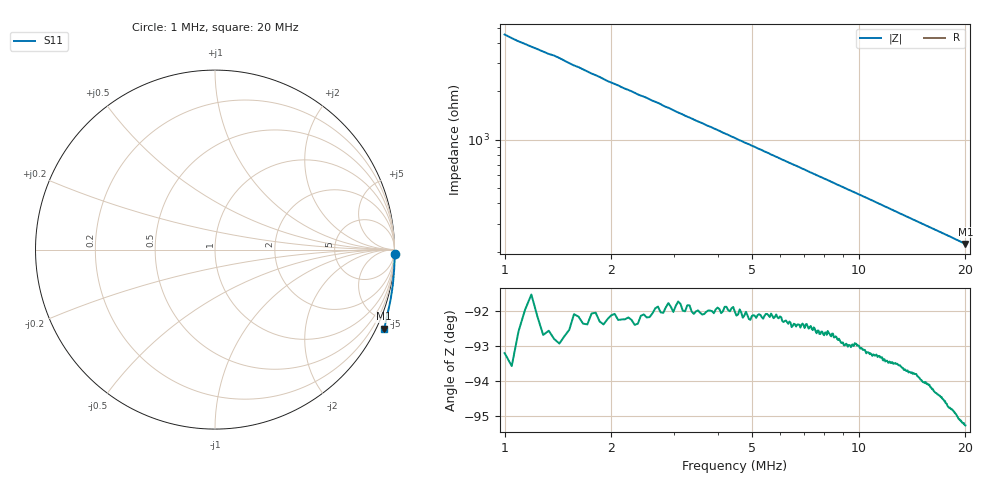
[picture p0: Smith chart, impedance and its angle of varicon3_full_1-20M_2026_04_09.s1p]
# HZ S RI R 50
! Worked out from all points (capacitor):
!   401 points, 1 MHz to 20 MHz, reference 50 ohm
!   read as one part to ground: C = 34.9 pF near 1.095 MHz
!   lowest |Z| = 224 ohm at 20 MHz (marker M1)
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1000000  1.001 -0.0221
1095000  1.001 -0.0244
1427500  1.001 -0.031
2045000  1.001 -0.0449
2662500  1 -0.0581
3375000  0.9999 -0.0738
4942500  0.9984 -0.108
5750000  0.9969 -0.1258
6557500  0.9956 -0.1435
7697500  0.9933 -0.1683
8125000  0.9925 -0.1775
9170000  0.9901 -0.2009
9835000  0.9878 -0.2149
1.05e7  0.9864 -0.2299
1.11175e7  0.9842 -0.2434
1.17825e7  0.9817 -0.2584
1.2875e7  0.9772 -0.2825
1.354e7  0.9745 -0.2974
1.449e7  0.9699 -0.3184
1.525e7  0.967 -0.3348
1.61525e7  0.9626 -0.3548
1.6865e7  0.9592 -0.3702
1.7625e7  0.9553 -0.3873
1.791e7  0.954 -0.3937
1.8385e7  0.9512 -0.4043
1.91925e7  0.9467 -0.4229
1.9905e7  0.9423 -0.4387
2e7  0.9417 -0.441
